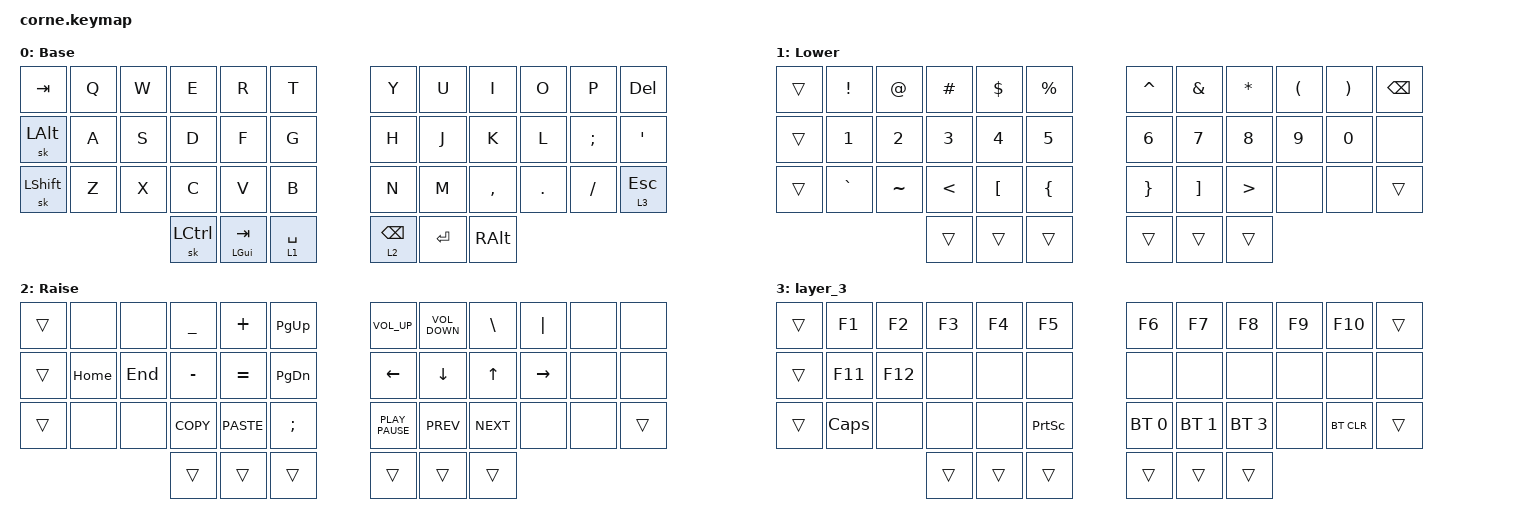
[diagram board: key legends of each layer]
/*
 * Copyright (c) 2020 The ZMK Contributors
 *
 * SPDX-License-Identifier: MIT
 */

#include <behaviors.dtsi>
#include <dt-bindings/zmk/bt.h>
#include <dt-bindings/zmk/keys.h>

/ {
    keymap {
        compatible = "zmk,keymap";

        default_layer {
            // -----------------------------------------------------------------------------------------
            // |  TAB |  Q  |  W  |  E  |  R  |  T  |   |  Y  |  U   |  I  |  O  |  P  | BKSP |
            // | CTRL |  A  |  S  |  D  |  F  |  G  |   |  H  |  J   |  K  |  L  |  ;  |  '   |
            // | SHFT |  Z  |  X  |  C  |  V  |  B  |   |  N  |  M   |  ,  |  .  |  /  | ESC  |
            //                    | GUI | LWR | SPC |   | ENT | RSE  | ALT |

            label = "Base";
            bindings = <
&kp TAB       &kp Q  &kp W  &kp E             &kp R             &kp T          &kp Y            &kp U      &kp I      &kp O    &kp P     &kp DEL
&sk LEFT_ALT  &kp A  &kp S  &kp D             &kp F             &kp G          &kp H            &kp J      &kp K      &kp L    &kp SEMI  &kp SQT
&sk LSHFT     &kp Z  &kp X  &kp C             &kp V             &kp B          &kp N            &kp M      &kp COMMA  &kp DOT  &kp FSLH  &lt 3 ESC
                            &sk LEFT_CONTROL  &mt LEFT_GUI TAB  &lt 1 SPACE    &lt 2 BACKSPACE  &kp ENTER  &kp RALT
            >;
        };

        lower_layer {
            // -----------------------------------------------------------------------------------------
            // |  TAB |  1  |  2  |  3  |  4  |  5  |   |  6  |  7  |  8  |  9  |  0  | BKSP |
            // | BTCLR| BT1 | BT2 | BT3 | BT4 | BT5 |   | LFT | DWN |  UP | RGT |     |      |
            // | SHFT |     |     |     |     |     |   |     |     |     |     |     |      |
            //                    | GUI |     | SPC |   | ENT |     | ALT |

            label = "Lower";
            bindings = <
&trans  &kp EXCL   &kp AT     &kp POUND      &kp DOLLAR        &kp PERCENT       &kp CARET        &kp AMPERSAND      &kp ASTERISK      &kp LEFT_PARENTHESIS  &kp RIGHT_PARENTHESIS  &kp BACKSPACE
&trans  &kp N1     &kp N2     &kp N3         &kp N4            &kp N5            &kp N6           &kp N7             &kp N8            &kp N9                &kp N0                 &none
&trans  &kp GRAVE  &kp TILDE  &kp LESS_THAN  &kp LEFT_BRACKET  &kp LEFT_BRACE    &kp RIGHT_BRACE  &kp RIGHT_BRACKET  &kp GREATER_THAN  &none                 &none                  &trans
                              &trans         &trans            &trans            &trans           &trans             &trans
            >;
        };

        raise_layer {
            // -----------------------------------------------------------------------------------------
            // |  TAB |  !  |  @  |  #  |  $  |  %  |   |  ^  |  &  |  *  |  (  |  )  | BKSP |
            // | CTRL |     |     |     |     |     |   |  -  |  =  |  [  |  ]  |  \  |  `   |
            // | SHFT |     |     |     |     |     |   |  _  |  +  |  {  |  }  | "|" |  ~   |
            //                    | GUI |     | SPC |   | ENT |     | ALT |

            label = "Raise";
            bindings = <
&trans  &none     &none    &kp UNDER   &kp PLUS     &kp PG_UP        &kp C_VOLUME_UP   &kp C_VOLUME_DOWN  &kp BACKSLASH  &kp PIPE   &none  &none
&trans  &kp HOME  &kp END  &kp MINUS   &kp EQUAL    &kp PG_DN        &kp LEFT          &kp DOWN           &kp UP         &kp RIGHT  &none  &none
&trans  &none     &none    &kp K_COPY  &kp K_PASTE  &kp SEMICOLON    &kp K_PLAY_PAUSE  &kp C_PREV         &kp C_NEXT     &none      &none  &trans
                           &trans      &trans       &trans           &trans            &trans             &trans
            >;
        };

        layer_3 {
            bindings = <
&trans  &kp F1    &kp F2   &kp F3  &kp F4  &kp F5       &kp F6        &kp F7        &kp F8        &kp F9  &kp F10     &trans
&trans  &kp F11   &kp F12  &none   &none   &none        &none         &none         &none         &none   &none       &none
&trans  &kp CAPS  &none    &none   &none   &kp PSCRN    &bt BT_SEL 0  &bt BT_SEL 1  &bt BT_SEL 3  &none   &bt BT_CLR  &trans
                           &trans  &trans  &trans       &trans        &trans        &trans
            >;
        };
    };
};
